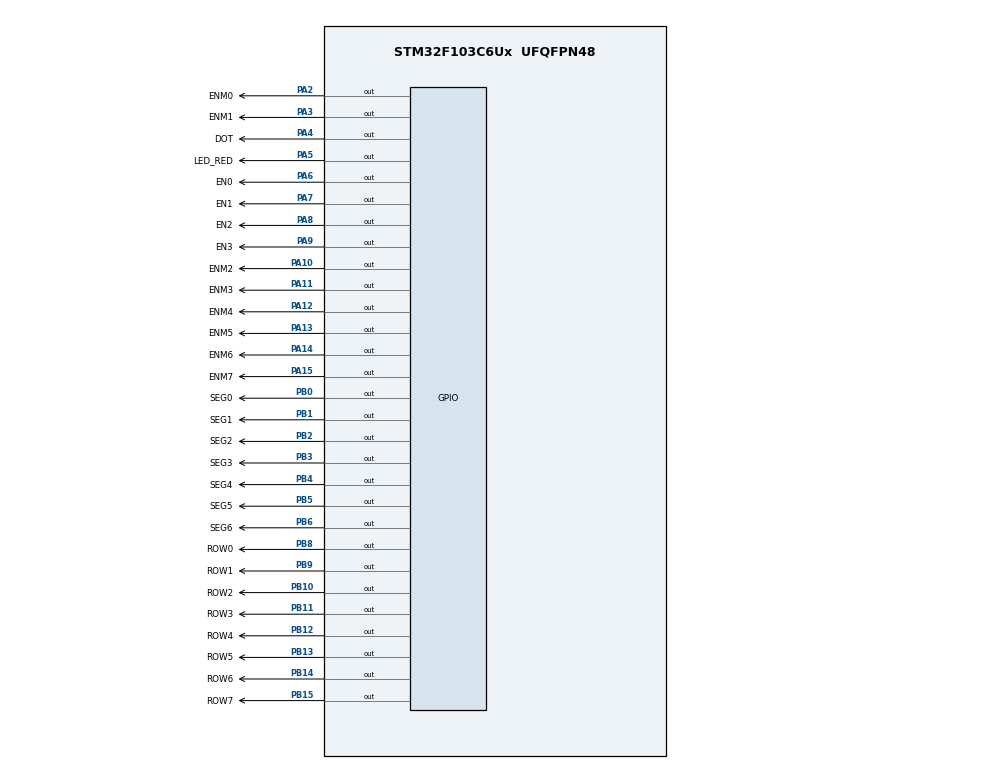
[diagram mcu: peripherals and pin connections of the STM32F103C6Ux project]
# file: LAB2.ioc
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Mcu.Family=STM32F1
Mcu.Name=STM32F103C6Ux
Mcu.Package=UFQFPN48
NVIC.PriorityGroup=NVIC_PRIORITYGROUP_4
NVIC.TIM2_IRQn=true\:0\:0\:false\:false\:true\:true\:true
PA10.GPIO_Label=ENM2
PA10.Signal=GPIO_Output
PA11.GPIO_Label=ENM3
PA11.Signal=GPIO_Output
PA12.GPIO_Label=ENM4
PA12.Signal=GPIO_Output
PA13.GPIO_Label=ENM5
PA13.Signal=GPIO_Output
PA14.GPIO_Label=ENM6
PA14.Signal=GPIO_Output
PA15.GPIO_Label=ENM7
PA15.Signal=GPIO_Output
PA2.GPIO_Label=ENM0
PA2.Signal=GPIO_Output
PA3.GPIO_Label=ENM1
PA3.Signal=GPIO_Output
PA4.GPIO_Label=DOT
PA4.Signal=GPIO_Output
PA5.GPIO_Label=LED_RED
PA5.Signal=GPIO_Output
PA6.GPIO_Label=EN0
PA6.Signal=GPIO_Output
PA7.GPIO_Label=EN1
PA7.Signal=GPIO_Output
PA8.GPIO_Label=EN2
PA8.Signal=GPIO_Output
PA9.GPIO_Label=EN3
PA9.Signal=GPIO_Output
PB0.GPIO_Label=SEG0
PB0.Signal=GPIO_Output
PB1.GPIO_Label=SEG1
PB1.Signal=GPIO_Output
PB10.GPIO_Label=ROW2
PB10.Signal=GPIO_Output
PB11.GPIO_Label=ROW3
PB11.Signal=GPIO_Output
PB12.GPIO_Label=ROW4
PB12.Signal=GPIO_Output
PB13.GPIO_Label=ROW5
PB13.Signal=GPIO_Output
PB14.GPIO_Label=ROW6
PB14.Signal=GPIO_Output
PB15.GPIO_Label=ROW7
PB15.Signal=GPIO_Output
PB2.GPIO_Label=SEG2
PB2.Signal=GPIO_Output
PB3.GPIO_Label=SEG3
PB3.Signal=GPIO_Output
PB4.GPIO_Label=SEG4
PB4.Signal=GPIO_Output
PB5.GPIO_Label=SEG5
PB5.Signal=GPIO_Output
PB6.GPIO_Label=SEG6
PB6.Signal=GPIO_Output
PB8.GPIO_Label=ROW0
PB8.Signal=GPIO_Output
PB9.GPIO_Label=ROW1
PB9.Signal=GPIO_Output
ProjectManager.HeapSize=0x200
ProjectManager.StackSize=0x400
ProjectManager.TargetToolchain=STM32CubeIDE
RCC.APB1Freq_Value=8000000
RCC.APB2Freq_Value=8000000
TIM2.Period=9
TIM2.Prescaler=7999
VP_SYS_VS_ND.Mode=No_Debug
VP_TIM2_VS_ClockSourceINT.Mode=Internal
board=custom

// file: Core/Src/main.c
/* USER CODE BEGIN Header */
/**
  ******************************************************************************
  * @file           : main.c
  * @brief          : Main program body
  ******************************************************************************
  * @attention
  *
  * <h2><center>&copy; Copyright (c) 2023 STMicroelectronics.
  * All rights reserved.</center></h2>
  *
  * This software component is licensed by ST under BSD 3-Clause license,
  * the "License"; You may not use this file except in compliance with the
  * License. You may obtain a copy of the License at:
  *                        opensource.org/licenses/BSD-3-Clause
  *
  ******************************************************************************
  */
/* USER CODE END Header */
#include "main.h"

/* USER CODE BEGIN Includes */
#include "math.h"
#include "software_timer.h"
/* USER CODE END Includes */

TIM_HandleTypeDef htim2;

void SystemClock_Config(void);
static void MX_TIM2_Init(void);
static void MX_GPIO_Init(void);

/* USER CODE BEGIN 0 */
const int MAX_LED_MATRIX = 8;
int index_led_matrix = 0;
uint8_t matrix_buffer[8] = {0x18, 0x24, 0x24, 0x3c, 0x66, 0x42, 0x42, 0x42};
int row_index,shift;

void clear_row(){
	HAL_GPIO_WritePin(ROW0_GPIO_Port, ROW0_Pin, SET);
	HAL_GPIO_WritePin(ROW1_GPIO_Port, ROW1_Pin, SET);
	HAL_GPIO_WritePin(ROW2_GPIO_Port, ROW2_Pin, SET);
	HAL_GPIO_WritePin(ROW3_GPIO_Port, ROW3_Pin, SET);
	HAL_GPIO_WritePin(ROW4_GPIO_Port, ROW4_Pin, SET);
	HAL_GPIO_WritePin(ROW5_GPIO_Port, ROW5_Pin, SET);
	HAL_GPIO_WritePin(ROW6_GPIO_Port, ROW6_Pin, SET);
	HAL_GPIO_WritePin(ROW7_GPIO_Port, ROW7_Pin, SET);
}

void displayRow(int index, uint8_t bits){
	clear_row();
	index = index % MAX_LED_MATRIX;
	if (index%MAX_LED_MATRIX == 0) shift++;
	uint8_t row_value = matrix_buffer[index]*pow(2,shift);
	if(row_value & 0b00000001) HAL_GPIO_WritePin(ROW0_GPIO_Port, ROW0_Pin, RESET);
	if(row_value & 0b00000010) HAL_GPIO_WritePin(ROW1_GPIO_Port, ROW1_Pin, RESET);
	if(row_value & 0b00000100) HAL_GPIO_WritePin(ROW2_GPIO_Port, ROW2_Pin, RESET);
	if(row_value & 0b00001000) HAL_GPIO_WritePin(ROW3_GPIO_Port, ROW3_Pin, RESET);
	if(row_value & 0b00010000) HAL_GPIO_WritePin(ROW4_GPIO_Port, ROW4_Pin, RESET);
	if(row_value & 0b00100000) HAL_GPIO_WritePin(ROW5_GPIO_Port, ROW5_Pin, RESET);
	if(row_value & 0b01000000) HAL_GPIO_WritePin(ROW6_GPIO_Port, ROW6_Pin, RESET);
	if(row_value & 0b10000000) HAL_GPIO_WritePin(ROW7_GPIO_Port, ROW7_Pin, RESET);

}
void updateLEDMatrix(int index){
    switch (index % MAX_LED_MATRIX){
        case 0:
        	HAL_GPIO_WritePin(ENM0_GPIO_Port, ENM0_Pin, 0);
        	HAL_GPIO_WritePin(ENM1_GPIO_Port, ENM1_Pin, 1);
        	HAL_GPIO_WritePin(ENM2_GPIO_Port, ENM2_Pin, 1);
        	HAL_GPIO_WritePin(ENM3_GPIO_Port, ENM3_Pin, 1);
        	HAL_GPIO_WritePin(ENM4_GPIO_Port, ENM4_Pin, 1);
        	HAL_GPIO_WritePin(ENM5_GPIO_Port, ENM5_Pin, 1);
        	HAL_GPIO_WritePin(ENM6_GPIO_Port, ENM6_Pin, 1);
        	HAL_GPIO_WritePin(ENM7_GPIO_Port, ENM7_Pin, 1);
            break;
        case 1:
        	HAL_GPIO_WritePin(ENM0_GPIO_Port, ENM0_Pin, 1);
			HAL_GPIO_WritePin(ENM1_GPIO_Port, ENM1_Pin, 0);
			HAL_GPIO_WritePin(ENM2_GPIO_Port, ENM2_Pin, 1);
			HAL_GPIO_WritePin(ENM3_GPIO_Port, ENM3_Pin, 1);
			HAL_GPIO_WritePin(ENM4_GPIO_Port, ENM4_Pin, 1);
			HAL_GPIO_WritePin(ENM5_GPIO_Port, ENM5_Pin, 1);
			HAL_GPIO_WritePin(ENM6_GPIO_Port, ENM6_Pin, 1);
			HAL_GPIO_WritePin(ENM7_GPIO_Port, ENM7_Pin, 1);
            break;
        case 2:
        	HAL_GPIO_WritePin(ENM0_GPIO_Port, ENM0_Pin, 1);
			HAL_GPIO_WritePin(ENM1_GPIO_Port, ENM1_Pin, 1);
			HAL_GPIO_WritePin(ENM2_GPIO_Port, ENM2_Pin, 0);
			HAL_GPIO_WritePin(ENM3_GPIO_Port, ENM3_Pin, 1);
			HAL_GPIO_WritePin(ENM4_GPIO_Port, ENM4_Pin, 1);
			HAL_GPIO_WritePin(ENM5_GPIO_Port, ENM5_Pin, 1);
			HAL_GPIO_WritePin(ENM6_GPIO_Port, ENM6_Pin, 1);
			HAL_GPIO_WritePin(ENM7_GPIO_Port, ENM7_Pin, 1);
            break;
        case 3:
        	HAL_GPIO_WritePin(ENM0_GPIO_Port, ENM0_Pin, 1);
			HAL_GPIO_WritePin(ENM1_GPIO_Port, ENM1_Pin, 1);
			HAL_GPIO_WritePin(ENM2_GPIO_Port, ENM2_Pin, 1);
			HAL_GPIO_WritePin(ENM3_GPIO_Port, ENM3_Pin, 0);
			HAL_GPIO_WritePin(ENM4_GPIO_Port, ENM4_Pin, 1);
			HAL_GPIO_WritePin(ENM5_GPIO_Port, ENM5_Pin, 1);
			HAL_GPIO_WritePin(ENM6_GPIO_Port, ENM6_Pin, 1);
			HAL_GPIO_WritePin(ENM7_GPIO_Port, ENM7_Pin, 1);
            break;
        case 4:
        	HAL_GPIO_WritePin(ENM0_GPIO_Port, ENM0_Pin, 1);
			HAL_GPIO_WritePin(ENM1_GPIO_Port, ENM1_Pin, 1);
			HAL_GPIO_WritePin(ENM2_GPIO_Port, ENM2_Pin, 1);
			HAL_GPIO_WritePin(ENM3_GPIO_Port, ENM3_Pin, 1);
			HAL_GPIO_WritePin(ENM4_GPIO_Port, ENM4_Pin, 0);
			HAL_GPIO_WritePin(ENM5_GPIO_Port, ENM5_Pin, 1);
			HAL_GPIO_WritePin(ENM6_GPIO_Port, ENM6_Pin, 1);
			HAL_GPIO_WritePin(ENM7_GPIO_Port, ENM7_Pin, 1);
            break;
        case 5:
        	HAL_GPIO_WritePin(ENM0_GPIO_Port, ENM0_Pin, 1);
			HAL_GPIO_WritePin(ENM1_GPIO_Port, ENM1_Pin, 1);
			HAL_GPIO_WritePin(ENM2_GPIO_Port, ENM2_Pin, 1);
			HAL_GPIO_WritePin(ENM3_GPIO_Port, ENM3_Pin, 1);
			HAL_GPIO_WritePin(ENM4_GPIO_Port, ENM4_Pin, 1);
			HAL_GPIO_WritePin(ENM5_GPIO_Port, ENM5_Pin, 0);
			HAL_GPIO_WritePin(ENM6_GPIO_Port, ENM6_Pin, 1);
			HAL_GPIO_WritePin(ENM7_GPIO_Port, ENM7_Pin, 1);
            break;
        case 6:
        	HAL_GPIO_WritePin(ENM0_GPIO_Port, ENM0_Pin, 1);
			HAL_GPIO_WritePin(ENM1_GPIO_Port, ENM1_Pin, 1);
			HAL_GPIO_WritePin(ENM2_GPIO_Port, ENM2_Pin, 1);
			HAL_GPIO_WritePin(ENM3_GPIO_Port, ENM3_Pin, 1);
			HAL_GPIO_WritePin(ENM4_GPIO_Port, ENM4_Pin, 1);
			HAL_GPIO_WritePin(ENM5_GPIO_Port, ENM5_Pin, 1);
			HAL_GPIO_WritePin(ENM6_GPIO_Port, ENM6_Pin, 0);
			HAL_GPIO_WritePin(ENM7_GPIO_Port, ENM7_Pin, 1);
            break;
        case 7:
        	HAL_GPIO_WritePin(ENM0_GPIO_Port, ENM0_Pin, 1);
			HAL_GPIO_WritePin(ENM1_GPIO_Port, ENM1_Pin, 1);
			HAL_GPIO_WritePin(ENM2_GPIO_Port, ENM2_Pin, 1);
			HAL_GPIO_WritePin(ENM3_GPIO_Port, ENM3_Pin, 1);
			HAL_GPIO_WritePin(ENM4_GPIO_Port, ENM4_Pin, 1);
			HAL_GPIO_WritePin(ENM5_GPIO_Port, ENM5_Pin, 1);
			HAL_GPIO_WritePin(ENM6_GPIO_Port, ENM6_Pin, 1);
			HAL_GPIO_WritePin(ENM7_GPIO_Port, ENM7_Pin, 0);
            break;
        default:
            break;
    }
}

/* USER CODE END 0 */

int main(void)
{

  /* MCU Configuration--------------------------------------------------------*/

  /* Reset of all peripherals, Initializes the Flash interface and the Systick. */
  HAL_Init();

  /* Configure the system clock */
  SystemClock_Config();

  /* Initialize all configured peripherals */
  MX_TIM2_Init();
  MX_GPIO_Init();
  /* USER CODE BEGIN 2 */
  HAL_TIM_Base_Start_IT(&htim2);
  /* USER CODE END 2 */

  /* Infinite loop */
  /* USER CODE BEGIN WHILE */
  setTimer1(50);
  setTimer2(50);
  int index = 0;
  int row_index = 0;
  shift = -1;
  while (1)
  {
	  if(timer1_flag == 1){
		  updateLEDMatrix(index++);
		  setTimer1(50);
	  }

	  if(timer2_flag == 1){
		  displayRow(row_index++, matrix_buffer[index]);
		  setTimer2(50);
	  }

    /* USER CODE END WHILE */

  }
}

void SystemClock_Config(void)
{
  RCC_OscInitTypeDef RCC_OscInitStruct = {0};
  RCC_ClkInitTypeDef RCC_ClkInitStruct = {0};

  /** Initializes the RCC Oscillators according to the specified parameters
  * in the RCC_OscInitTypeDef structure.
  */
  RCC_OscInitStruct.OscillatorType = RCC_OSCILLATORTYPE_HSI;
  RCC_OscInitStruct.HSIState = RCC_HSI_ON;
  RCC_OscInitStruct.HSICalibrationValue = RCC_HSICALIBRATION_DEFAULT;
  RCC_OscInitStruct.PLL.PLLState = RCC_PLL_NONE;
  if (HAL_RCC_OscConfig(&RCC_OscInitStruct) != HAL_OK)
  {
    Error_Handler();
  }
  /** Initializes the CPU, AHB and APB buses clocks
  */
  RCC_ClkInitStruct.ClockType = RCC_CLOCKTYPE_HCLK|RCC_CLOCKTYPE_SYSCLK
                              |RCC_CLOCKTYPE_PCLK1|RCC_CLOCKTYPE_PCLK2;
  RCC_ClkInitStruct.SYSCLKSource = RCC_SYSCLKSOURCE_HSI;
  RCC_ClkInitStruct.AHBCLKDivider = RCC_SYSCLK_DIV1;
  RCC_ClkInitStruct.APB1CLKDivider = RCC_HCLK_DIV1;
  RCC_ClkInitStruct.APB2CLKDivider = RCC_HCLK_DIV1;

  if (HAL_RCC_ClockConfig(&RCC_ClkInitStruct, FLASH_LATENCY_0) != HAL_OK)
  {
    Error_Handler();
  }
}

static void MX_TIM2_Init(void)
{

  TIM_ClockConfigTypeDef sClockSourceConfig = {0};
  TIM_MasterConfigTypeDef sMasterConfig = {0};

  htim2.Instance = TIM2;
  htim2.Init.Prescaler = 7999;
  htim2.Init.CounterMode = TIM_COUNTERMODE_UP;
  htim2.Init.Period = 9;
  htim2.Init.ClockDivision = TIM_CLOCKDIVISION_DIV1;
  htim2.Init.AutoReloadPreload = TIM_AUTORELOAD_PRELOAD_DISABLE;
  if (HAL_TIM_Base_Init(&htim2) != HAL_OK)
  {
    Error_Handler();
  }
  sClockSourceConfig.ClockSource = TIM_CLOCKSOURCE_INTERNAL;
  if (HAL_TIM_ConfigClockSource(&htim2, &sClockSourceConfig) != HAL_OK)
  {
    Error_Handler();
  }
  sMasterConfig.MasterOutputTrigger = TIM_TRGO_RESET;
  sMasterConfig.MasterSlaveMode = TIM_MASTERSLAVEMODE_DISABLE;
  if (HAL_TIMEx_MasterConfigSynchronization(&htim2, &sMasterConfig) != HAL_OK)
  {
    Error_Handler();
  }

}

static void MX_GPIO_Init(void)
{
  GPIO_InitTypeDef GPIO_InitStruct = {0};

  /* GPIO Ports Clock Enable */
  __HAL_RCC_GPIOA_CLK_ENABLE();
  __HAL_RCC_GPIOB_CLK_ENABLE();

  /*Configure GPIO pin Output Level */
  HAL_GPIO_WritePin(GPIOA, ENM0_Pin|ENM1_Pin|DOT_Pin|LED_RED_Pin
                          |EN0_Pin|EN1_Pin|EN2_Pin|EN3_Pin
                          |ENM2_Pin|ENM3_Pin|ENM4_Pin|ENM5_Pin
                          |ENM6_Pin|ENM7_Pin, GPIO_PIN_RESET);

  /*Configure GPIO pin Output Level */
  HAL_GPIO_WritePin(GPIOB, SEG0_Pin|SEG1_Pin|SEG2_Pin|ROW2_Pin
                          |ROW3_Pin|ROW4_Pin|ROW5_Pin|ROW6_Pin
                          |ROW7_Pin|SEG3_Pin|SEG4_Pin|SEG5_Pin
                          |SEG6_Pin|ROW0_Pin|ROW1_Pin, GPIO_PIN_RESET);

  /*Configure GPIO pins : ENM0_Pin ENM1_Pin DOT_Pin LED_RED_Pin
                           EN0_Pin EN1_Pin EN2_Pin EN3_Pin
                           ENM2_Pin ENM3_Pin ENM4_Pin ENM5_Pin
                           ENM6_Pin ENM7_Pin */
  GPIO_InitStruct.Pin = ENM0_Pin|ENM1_Pin|DOT_Pin|LED_RED_Pin
                          |EN0_Pin|EN1_Pin|EN2_Pin|EN3_Pin
                          |ENM2_Pin|ENM3_Pin|ENM4_Pin|ENM5_Pin
                          |ENM6_Pin|ENM7_Pin;
  GPIO_InitStruct.Mode = GPIO_MODE_OUTPUT_PP;
  GPIO_InitStruct.Pull = GPIO_NOPULL;
  GPIO_InitStruct.Speed = GPIO_SPEED_FREQ_LOW;
  HAL_GPIO_Init(GPIOA, &GPIO_InitStruct);

  /*Configure GPIO pins : SEG0_Pin SEG1_Pin SEG2_Pin ROW2_Pin
                           ROW3_Pin ROW4_Pin ROW5_Pin ROW6_Pin
                           ROW7_Pin SEG3_Pin SEG4_Pin SEG5_Pin
                           SEG6_Pin ROW0_Pin ROW1_Pin */
  GPIO_InitStruct.Pin = SEG0_Pin|SEG1_Pin|SEG2_Pin|ROW2_Pin
                          |ROW3_Pin|ROW4_Pin|ROW5_Pin|ROW6_Pin
                          |ROW7_Pin|SEG3_Pin|SEG4_Pin|SEG5_Pin
                          |SEG6_Pin|ROW0_Pin|ROW1_Pin;
  GPIO_InitStruct.Mode = GPIO_MODE_OUTPUT_PP;
  GPIO_InitStruct.Pull = GPIO_NOPULL;
  GPIO_InitStruct.Speed = GPIO_SPEED_FREQ_LOW;
  HAL_GPIO_Init(GPIOB, &GPIO_InitStruct);

}

/* USER CODE BEGIN 4 */
void HAL_TIM_PeriodElapsedCallback(TIM_HandleTypeDef *htim){
	timerRun();
}

/* USER CODE END 4 */

void Error_Handler(void)
{
  __disable_irq();
  while (1)
  {
  }
}

/************************ (C) COPYRIGHT STMicroelectronics *****END OF FILE****/
